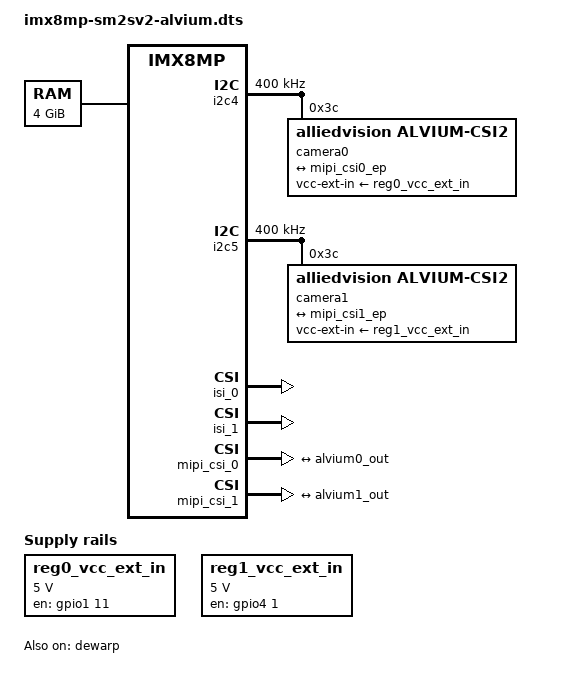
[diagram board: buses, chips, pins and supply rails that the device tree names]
// SPDX-License-Identifier: GPL-2.0+
/*
 * Copyright 2023 Avnet Silica
 */

#include "imx8mp-evk.dts"

/ {
	memory@40000000 {
		device_type = "memory";
		reg =
			<0x0 0x40000000 0 0x80000000>, /* bank0, 2GiB */
			<0x0 0xc0000000 0 0x80000000>; /* bank1, 2GiB */
	};

	reg0_vcc_ext_in: regulator0-vcc-ext-in {
		compatible = "regulator-fixed";
		regulator-name = "vcc0-ext-in";
		pinctrl-names = "default";
		pinctrl-0 = <&pinctrl_csi0_pwn>;
		regulator-min-microvolt = <5000000>;
		regulator-max-microvolt = <5000000>;
		gpio = <&gpio1 11 GPIO_ACTIVE_HIGH>;
		enable-active-high;
	};

	reg1_vcc_ext_in: regulator1-vcc-ext-in {
		compatible = "regulator-fixed";
		regulator-name = "vcc1-ext-in";
		pinctrl-names = "default";
		pinctrl-0 = <&pinctrl_csi1_pwn>;
		regulator-min-microvolt = <5000000>;
		regulator-max-microvolt = <5000000>;
		gpio = <&gpio4 1 GPIO_ACTIVE_HIGH>;
		enable-active-high;
	};
};

&dewarp {
	status = "okay";
};

&iomuxc {
	pinctrl_csi0_pwn: csi0_pwn_grp {
		fsl,pins = <
			MX8MP_IOMUXC_GPIO1_IO11__GPIO1_IO11	0x19
		>;
	};

	pinctrl_csi1_pwn: csi1_pwn_grp {
		fsl,pins = <
			MX8MP_IOMUXC_SAI1_RXC__GPIO4_IO01	0x19
		>;
	};

	pinctrl_i2c4: i2c4grp {
		fsl,pins = <
			MX8MP_IOMUXC_I2C4_SCL__I2C4_SCL		0x400001c3
			MX8MP_IOMUXC_I2C4_SDA__I2C4_SDA		0x400001c3
		>;
	};

	pinctrl_i2c5: i2c5grp {
		fsl,pins = <
			MX8MP_IOMUXC_SPDIF_TX__I2C5_SCL		0x400001c3
			MX8MP_IOMUXC_SPDIF_RX__I2C5_SDA		0x400001c3
		>;
	};
};

&i2c2 {
	/delete-node/ov5640_mipi@3c;
};

&i2c3 {
	/delete-node/ov5640_mipi@3c;
};

&i2c4 {
	#address-cells = <1>;
	#size-cells = <0>;
	clock-frequency = <400000>;
	pinctrl-names = "default";
	pinctrl-0 = <&pinctrl_i2c4>;
	status = "okay";

	camera0: alvium@3c {
		compatible = "alliedvision,alvium-csi2";
		reg = <0x3c>;
		vcc-ext-in-supply = <&reg0_vcc_ext_in>;
		status = "okay";

		csi_id = <0>;

		port {
			alvium0_out: endpoint {
				remote-endpoint = <&mipi_csi0_ep>;
				data-lanes = <1 2 3 4>;
				link-frequencies = /bits/ 64 <681250000>;
				clock-lanes = <0>;
			};
		};
	};
};

&i2c5 {
	#address-cells = <1>;
	#size-cells = <0>;
	clock-frequency = <400000>;
	pinctrl-names = "default";
	pinctrl-0 = <&pinctrl_i2c5>;
	status = "okay";

	camera1: alvium@3c {
		compatible = "alliedvision,alvium-csi2";
		reg = <0x3c>;
		vcc-ext-in-supply = <&reg1_vcc_ext_in>;
		status = "okay";

		csi_id = <1>;

		port {
			alvium1_out: endpoint {
				remote-endpoint = <&mipi_csi1_ep>;
				data-lanes = <1 2 3 4>;
				link-frequencies = /bits/ 64 <681250000>;
				clock-lanes = <0>;
			};
		};
	};
};

&isi_0 {
	status = "okay";

	disable_resolution_check;
	dma-coherent;

	cap_device {
		status = "okay";
	};

	m2m_device {
		status = "okay";
	};
};

&isi_1 {
	status = "okay";

	disable_resolution_check;
	dma-coherent;

	cap_device {
		status = "okay";
	};

	m2m_device {
		status = "okay";
	};
};

&isp_0 {
	status = "disabled";
};

&isp_1 {
	status = "disabled";
};

&mipi_csi_0 {
	clock-frequency = <681250000>;
	assigned-clock-rates = <500000000>;
	status = "okay";
	data-lanes = <4>;

	port {
		mipi_csi0_ep: endpoint {
			remote-endpoint = <&alvium0_out>;
			data-lanes = <4>;
			csis-hs-settle = <14>;
			csis-clk-settle = <2>;
			csis-wclk;
		};
	};
};

&mipi_csi_1 {
	#address-cells = <1>;
	#size-cells = <0>;
	clock-frequency = <681250000>;
	assigned-clock-rates = <500000000>;
	status = "okay";
	data-lanes = <4>;

	port@1 {
		reg = <1>;
		mipi_csi1_ep: endpoint {
			remote-endpoint = <&alvium1_out>;
			data-lanes = <4>;
			csis-hs-settle = <14>;
			csis-clk-settle = <2>;
			csis-wclk;
		};
	};
};

&pcie {
	status = "disabled";
};

&pcie_ep {
	status = "disabled";
};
